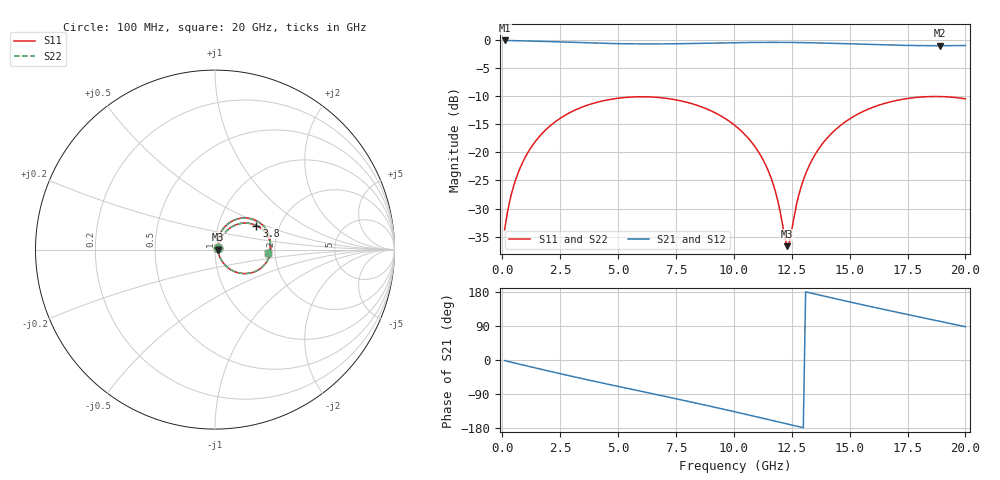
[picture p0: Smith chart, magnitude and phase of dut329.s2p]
! Touchstone file exported from HFSS 2026.1.0
!  File:  C:/ffzhzh/LocalFiles/Ansys_Project_Files/temp_train_TSV_RDL_329_1783033042_51716.aedt
!  Generated:  07:07:55 AM Jul  3, 2026
!  Design:  TSV_RDL
!  Project:  temp_train_TSV_RDL_329_1783033042_51716
! Variables:
!  h_bsmrdl = 4.54um
!  h_ox = 20um
!  h_rdl = 5um
!  h_sub = 72.37um
!  h_tmrdl = 5.11um
!  h_tsv = 72.37um
!  h_via = 3um
!  l_bsmrdl = 927.12um
!  l_sub = 4514.78um
!  l_tmrdl = 307um
!  m_sub = 200um
!  pitch = 34.31um
!  r_tsv = 11.96um
!  s_tmrdl = 10um
!  w_bsmrdl = 21.19um
!  w_sub = 500um
!  w_tmrdl = 13.95um
!  x_tsv_center1 = 313.975um
!  x_tsv_center2 = 1262.285um
!  x_tsv_center3 = 1583.235um
!  x_tsv_center4 = 2531.545um
!  x_tsv_center5 = 2852.495um
!  x_tsv_center6 = 3800.805um
# GHz S MA R 50.000000
! Terminal data exported
! Port[1] = TM_RDL1_1_T1
! Port[2] = TM_RDL5_1_T1
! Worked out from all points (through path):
!   200 points, 100 MHz to 20 GHz, reference 50 ohm
!   highest |S21| = -0.15 dB at 100 MHz (marker M1); lowest = -1.1 dB at 18.9 GHz (marker M2)
!   group delay of S21, straight-line fit = 37.8 ps
!   lowest |S11| = -36.7 dB at 12.3 GHz (marker M3), VSWR 1.03, Z = 51.5 + j0.0255 ohm
!   |S11| at or under -10 dB: start of sweep to end of sweep
!   |S22| runs from -36.5 to -10.1 dB; largest |S21 - S12| = 1.6e-14
!   S11 on the Smith chart (normalised r, x): 100 MHz: 1.04, +0.02; 3.8 GHz: 1.52, +0.44; 20 GHz: 1.84, -0.07
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0.1  0.02043 29.3  0.9824 -1.6  0.9824 -1.6  0.02043 29.3
! Gamma 0 0 0 0
! Port Impedance 50 0 50 0
0.3  0.03524 51.4  0.9798 -4.6  0.9798 -4.6  0.03524 51.4
0.5  0.05095 57.9  0.9778 -7.5  0.9778 -7.5  0.05095 57.9
1.2  0.1069 59.7  0.9711 -17.7  0.9711 -17.7  0.1069 59.7
2.2  0.1806 49.9  0.9575 -31.9  0.9575 -31.9  0.1805 49.9
3.5  0.2539 33.9  0.9374 -49.8  0.9374 -49.8  0.2539 33.9
3.8  0.2667 30.2  0.9332 -53.8  0.9332 -53.8  0.2667 30.2
5.3  0.3062 11.5  0.9182 -73.6  0.9182 -73.6  0.3062 11.5
6.8  0.3054 -7.0  0.9154 -93.0  0.9154 -93.0  0.3054 -6.9
8.5  0.2572 -28.0  0.9252 -115.5  0.9252 -115.5  0.2572 -27.9
10.1  0.1692 -47.4  0.9386 -137.4  0.9386 -137.4  0.1692 -47.3
10.9  0.1129 -55.8  0.9434 -148.7  0.9434 -148.7  0.1129 -55.7
11.5  0.06739 -59.0  0.945 -157.3  0.945 -157.3  0.06742 -58.7
11.9  0.03692 -53.8  0.945 -163.0  0.945 -163.0  0.03701 -53.3
12.3  0.01464 1.0  0.944 -168.7  0.944 -168.7  0.01497 1.3
12.4  0.01591 29.9  0.9436 -170.2  0.9436 -170.2  0.01623 29.6
12.9  0.04884 71.8  0.9407 -177.3  0.9407 -177.3  0.04898 71.5
13.4  0.08707 72.7  0.9365 175.6  0.9365 175.6  0.08717 72.5
14.7  0.1789 60.2  0.9208 157.4  0.9208 157.4  0.179 60.0
16.7  0.278 36.1  0.8948 130.5  0.8948 130.5  0.2781 36.1
18.9  0.3121 9.7  0.8827 102.1  0.8827 102.1  0.3121 9.6
20  0.298 -3.5  0.8859 87.8  0.8859 87.8  0.298 -3.5
